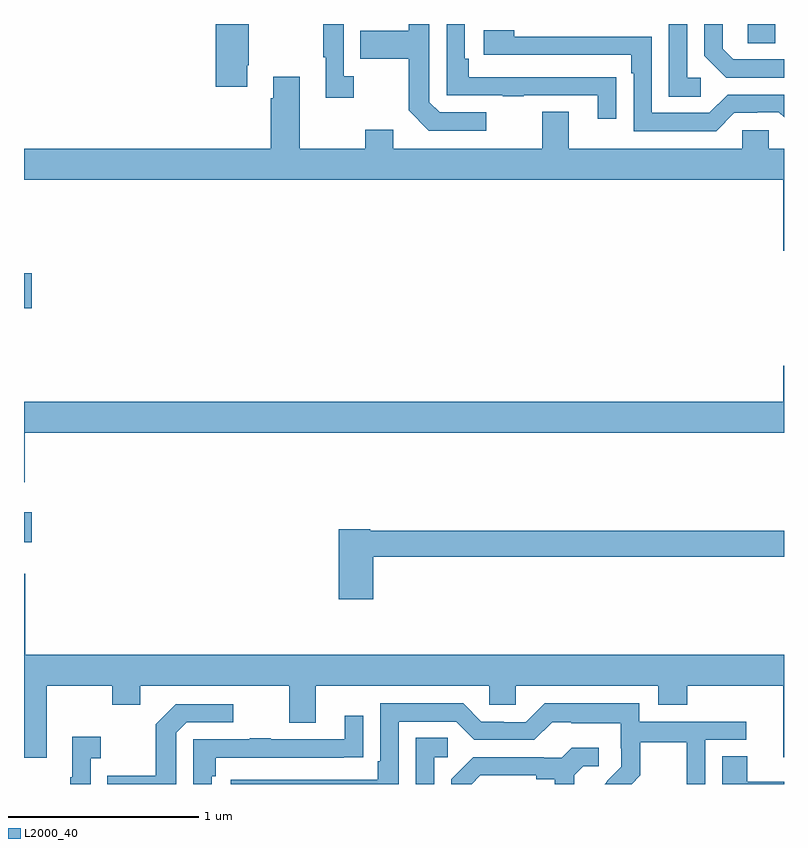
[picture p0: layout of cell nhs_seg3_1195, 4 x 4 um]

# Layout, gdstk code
import gdstk
lib = gdstk.Library(unit=1e-6, precision=1e-09)
def R(c, l, rs):  # rectangles x0, y0, x1, y1
    for r in rs: c.add(gdstk.rectangle(r[:2], r[2:], *l))
def P(c, l, *ps):  # polygons
    for p in ps: c.add(gdstk.Polygon(p, *l))
L2000_40 = (2000, 40)

nhs_seg3_1195 = lib.new_cell('nhs_seg3_1195')
R(nhs_seg3_1195, L2000_40, [(173,701.672,173.041,701.83), (173,702.905,173.041,703.088), (176.808,704.299,176.953,704.4)])
P(nhs_seg3_1195, L2000_40, [(174.736,704.126),(174.684,704.126),(174.684,704.4),(174.576,704.4),(174.576,704.225),(174.587,704.225),(174.587,704.013),(174.736,704.013)],
  [(174.175,704.182),(174.183,704.182),(174.183,704.4),(174.008,704.4),(174.008,704.07),(174.175,704.07)],
  [(175.432,703.935),(175.188,703.935),(175.134,703.989),(175.134,704.4),(175.026,704.4),(175.026,704.365),(174.769,704.365),(174.769,704.218),(175.026,704.218),(175.026,703.945),(175.131,703.839),(175.432,703.839)],
  [(176.563,704.118),(176.49,704.118),(176.49,704.4),(176.394,704.4),(176.394,704.017),(176.563,704.017)],
  [(177,704.214),(176.734,704.214),(176.677,704.271),(176.677,704.4),(176.58,704.4),(176.58,704.234),(176.696,704.118),(177,704.118)],
  [(176.117,704.12),(176.015,704.12),(176.015,704.121),(175.34,704.121),(175.34,704.218),(175.32,704.218),(175.32,704.4),(175.224,704.4),(175.224,704.025),(175.519,704.025),(175.519,704.02),(175.631,704.02),(175.631,704.025),(176.021,704.025),(176.021,703.902),(176.117,703.902)],
  [(176.739,703.932),(176.858,703.932),(176.858,703.935),(176.973,703.935),(177,703.908),(177,704.028),(176.703,704.028),(176.607,703.932),(176.304,703.932),(176.304,704.334),(175.58,704.334),(175.58,704.368),(175.419,704.368),(175.419,704.238),(176.195,704.238),(176.195,704.141),(176.208,704.141),(176.208,703.836),(176.643,703.836)],
  [(177,703.744),(176.919,703.744),(176.919,703.842),(176.781,703.842),(176.781,703.744),(175.867,703.744),(175.867,703.939),(175.727,703.939),(175.727,703.744),(174.943,703.744),(174.943,703.843),(174.796,703.843),(174.796,703.744),(174.451,703.744),(174.451,704.122),(174.311,704.122),(174.311,704.009),(174.299,704.009),(174.299,703.744),(173,703.744),(173,703.58),(176.996,703.58),(176.996,703.206),(177,703.206)],
  [(173.003,702.248),(177,702.248),(177,702.601),(176.996,702.601),(176.996,702.412),(173,702.412),(173,701.988),(173.003,701.988)],
  [(174.839,701.596),(177,701.596),(177,701.732),(174.822,701.732),(174.822,701.74),(174.656,701.74),(174.656,701.373),(174.839,701.373)],
  [(173.119,700.916),(173.464,700.916),(173.464,700.817),(173.611,700.817),(173.611,700.916),(174.395,700.916),(174.395,700.722),(174.535,700.722),(174.535,700.916),(175.449,700.916),(175.449,700.818),(175.587,700.818),(175.587,700.916),(176.339,700.916),(176.339,700.817),(176.492,700.817),(176.492,700.916),(176.996,700.916),(176.996,700.542),(177,700.542),(177,701.08),(173.006,701.08),(173.006,701.506),(173,701.506),(173,700.539),(173.119,700.539)],
  [(174.972,700.728),(175.275,700.728),(175.371,700.632),(175.686,700.632),(175.779,700.725),(175.879,700.725),(175.879,700.721),(176.142,700.721),(176.142,700.587),(176.144,700.587),(176.144,700.49),(176.07,700.416),(176.071,700.415),(176.056,700.4),(176.198,700.4),(176.243,700.445),(176.243,700.62),(176.488,700.62),(176.488,700.4),(176.586,700.4),(176.586,700.632),(176.8,700.632),(176.8,700.728),(176.238,700.728),(176.238,700.825),(175.741,700.825),(175.641,700.725),(175.526,700.725),(175.526,700.728),(175.407,700.728),(175.311,700.824),(174.876,700.824),(174.876,700.519),(174.863,700.519),(174.863,700.422),(174.087,700.422),(174.087,700.4),(174.972,700.4)],
  [(173.802,700.671),(173.856,700.725),(174.1,700.725),(174.1,700.821),(173.799,700.821),(173.694,700.715),(173.694,700.443),(173.437,700.443),(173.437,700.4),(173.802,700.4)],
  [(173.988,700.442),(174.008,700.442),(174.008,700.539),(174.683,700.539),(174.683,700.54),(174.785,700.54),(174.785,700.759),(174.689,700.759),(174.689,700.635),(174.299,700.635),(174.299,700.64),(174.187,700.64),(174.187,700.635),(173.892,700.635),(173.892,700.4),(173.988,700.4)],
  [(173.352,700.535),(173.404,700.535),(173.404,700.648),(173.255,700.648),(173.255,700.435),(173.244,700.435),(173.244,700.4),(173.352,700.4)],
  [(175.158,700.542),(175.231,700.542),(175.231,700.643),(175.062,700.643),(175.062,700.4),(175.158,700.4)],
  [(175.402,700.446),(175.697,700.446),(175.697,700.424),(175.793,700.424),(175.793,700.4),(175.897,700.4),(175.897,700.447),(175.944,700.494),(176.026,700.494),(176.026,700.591),(175.882,700.591),(175.83,700.539),(175.736,700.539),(175.736,700.542),(175.364,700.542),(175.248,700.426),(175.248,700.4),(175.356,700.4)],
  [(177,700.411),(176.806,700.411),(176.806,700.547),(176.675,700.547),(176.675,700.4),(177,700.4)])

lib.write_gds('nhs_seg3_1195.gds')
